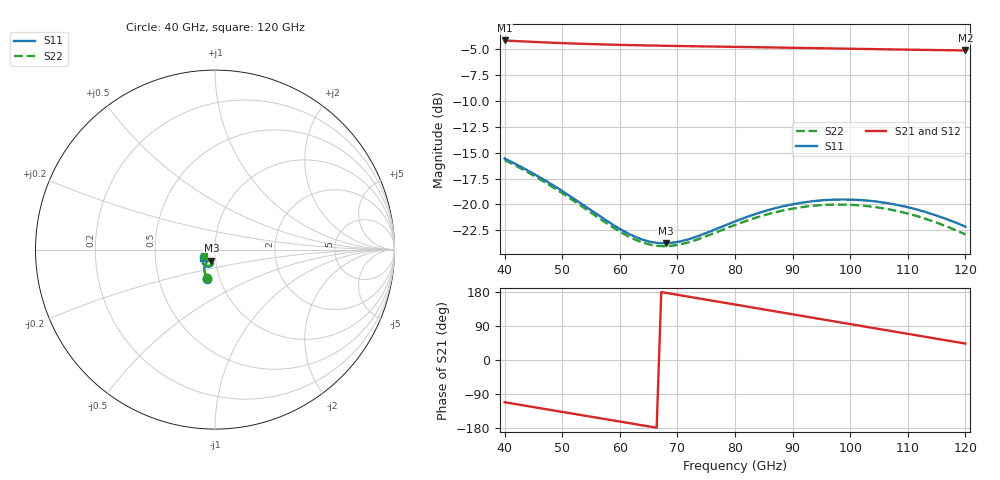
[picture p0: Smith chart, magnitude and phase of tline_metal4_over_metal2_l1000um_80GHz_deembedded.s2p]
! Created with skrf 2.0.1 (http://scikit-rf.org).
# GHz S DB R 50.0
!freq dBS11 angS11 dBS21 angS21 dBS12 angS12 dBS22 angS22
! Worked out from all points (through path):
!   101 points, 40 GHz to 120 GHz, reference 50 ohm
!   highest |S21| = -4.14 dB at 40 GHz (marker M1); lowest = -5.1 dB at 120 GHz (marker M2)
!   group delay of S21, straight-line fit = 7.13 ps
!   lowest |S11| = -23.7 dB at 68 GHz (marker M3), VSWR 1.14, Z = 47.7 - j5.91 ohm
!   |S11| at or under -10 dB: start of sweep to end of sweep
!   |S22| runs from -24.0 to -15.7 dB; largest |S21 - S12| = 9.7e-14
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40  -15.56 -104.8  -4.14 -111.4  -4.14 -111.4  -15.71 -105.0
43.2  -16.47 -110.8  -4.23 -119.6  -4.23 -119.6  -16.63 -111.0
47.2  -17.73 -117.1  -4.33 -129.9  -4.33 -129.9  -17.92 -117.4
53.6  -20.03 -123.1  -4.46 -146.1  -4.46 -146.1  -20.26 -123.5
57.6  -21.53 -123.2  -4.53 -156.3  -4.53 -156.3  -21.78 -123.7
61.6  -22.85 -119.5  -4.58 -166.5  -4.58 -166.5  -23.12 -120.1
64.8  -23.54 -114.2  -4.62 -174.6  -4.62 -174.6  -23.82 -114.9
67.2  -23.75 -109.6  -4.64 179.2  -4.64 179.2  -24.03 -110.3
68  -23.75 -108.1  -4.65 177.2  -4.65 177.2  -24.03 -108.8
70.4  -23.58 -103.9  -4.67 171.1  -4.67 171.1  -23.87 -104.8
73.6  -23.06 -100.0  -4.70 162.9  -4.70 162.9  -23.36 -101.1
80  -21.64 -98.6  -4.76 146.4  -4.76 146.4  -21.99 -100.1
84  -20.85 -101.2  -4.79 136.1  -4.79 136.1  -21.22 -102.9
87.2  -20.33 -104.5  -4.82 127.8  -4.82 127.8  -20.73 -106.4
90.4  -19.94 -108.4  -4.85 119.5  -4.85 119.5  -20.36 -110.5
93.6  -19.68 -112.8  -4.88 111.3  -4.88 111.3  -20.13 -115.1
96.8  -19.54 -117.5  -4.91 103.0  -4.91 103.0  -20.02 -119.9
100  -19.53 -122.3  -4.94 94.8  -4.94 94.8  -20.03 -124.9
103.2  -19.64 -127.0  -4.97 86.5  -4.97 86.5  -20.17 -129.8
107.2  -19.94 -132.7  -5.00 76.3  -5.00 76.3  -20.52 -135.7
113.6  -20.82 -140.6  -5.05 59.8  -5.05 59.8  -21.48 -143.9
120  -22.14 -145.7  -5.10 43.4  -5.10 43.4  -22.90 -149.0
